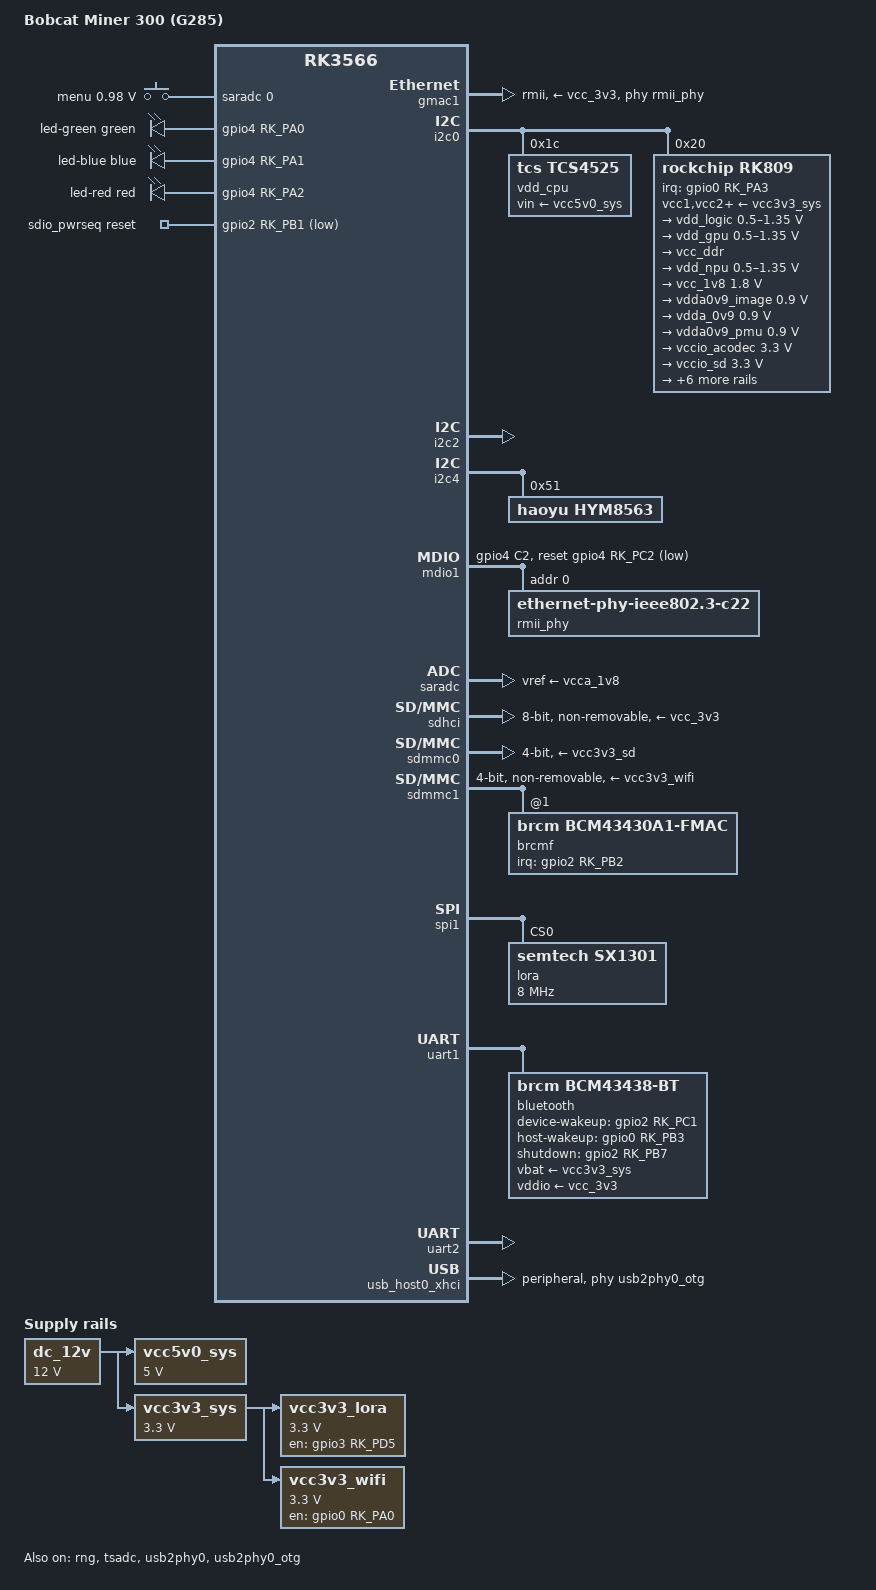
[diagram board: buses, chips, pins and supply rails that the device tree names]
// SPDX-License-Identifier: (GPL-2.0-or-later OR MIT)
/*
 * Bobcat Miner 300, board revision G285-V1.0 (Rockchip RK3566, 2 GB LPDDR4X,
 * 64 GB eMMC, SX1302 LoRa concentrator card in a mini-PCIe style socket).
 *
 * Written for mainline Linux from scratch. Board facts come from public notes
 * (see docs/hardware-g285.md for each fact and its source); the power tree
 * follows the Rockchip RK3566 reference design shared with the Radxa ROCK 3C
 * (rk3566-rock-3c.dts). Nodes marked "UNVERIFIED" are educated guesses that
 * have to be checked on a board (docs/bringup-checklist.md).
 */

/dts-v1/;

#include <dt-bindings/gpio/gpio.h>
#include <dt-bindings/input/input.h>
#include <dt-bindings/leds/common.h>
#include <dt-bindings/pinctrl/rockchip.h>
#include "rk3566.dtsi"

/ {
	model = "Bobcat Miner 300 (G285)";
	compatible = "bobcat,miner300-g285", "rockchip,rk3566";

	aliases {
		ethernet0 = &gmac1;
		mmc0 = &sdhci;
		mmc1 = &sdmmc0;
		mmc2 = &sdmmc1;
		rtc0 = &hym8563;
	};

	chosen: chosen {
		stdout-path = "serial2:1500000n8";
	};

	/*
	 * The button on SARADC channel 0, as in the factory DTB (a "menu" key
	 * there, pressed at about 0.98 V). Presumably the RECOVERY button, which
	 * Rockchip boards wire to this channel; not checked yet.
	 */
	adc-keys {
		compatible = "adc-keys";
		io-channels = <&saradc 0>;
		io-channel-names = "buttons";
		keyup-threshold-microvolt = <1800000>;
		poll-interval = <100>;

		button-menu {
			label = "menu";
			linux,code = <KEY_MENU>;
			press-threshold-microvolt = <980000>;
		};
	};

	leds {
		compatible = "gpio-leds";
		pinctrl-names = "default";
		pinctrl-0 = <&rgb_led_pins>;

		/*
		 * The front RGB LED, the board's only LED (checked by eye on a
		 * G285 on 2026-11-18, each line driven on its own; all active
		 * high). The factory firmware leaves it red. Under Linux: green
		 * heartbeat, so a running system shows; red and blue are free for
		 * user space (docs/roadmap.md, item 7).
		 */
		led-green {
			gpios = <&gpio4 RK_PA0 GPIO_ACTIVE_HIGH>;
			color = <LED_COLOR_ID_GREEN>;
			function = LED_FUNCTION_STATUS;
			linux,default-trigger = "heartbeat";
		};

		led-blue {
			gpios = <&gpio4 RK_PA1 GPIO_ACTIVE_HIGH>;
			color = <LED_COLOR_ID_BLUE>;
			function = LED_FUNCTION_STATUS;
			default-state = "off";
		};

		led-red {
			gpios = <&gpio4 RK_PA2 GPIO_ACTIVE_HIGH>;
			color = <LED_COLOR_ID_RED>;
			function = LED_FUNCTION_STATUS;
			default-state = "off";
		};
	};

	sdio_pwrseq: sdio-pwrseq {
		compatible = "mmc-pwrseq-simple";
		clocks = <&rk809 1>;
		clock-names = "ext_clock";
		pinctrl-names = "default";
		pinctrl-0 = <&wifi_reg_on_h>;
		post-power-on-delay-ms = <200>;
		reset-gpios = <&gpio2 RK_PB1 GPIO_ACTIVE_LOW>;
	};

	/* The board is fed with 12 V DC */
	dc_12v: regulator-dc-12v {
		compatible = "regulator-fixed";
		regulator-name = "dc_12v";
		regulator-always-on;
		regulator-boot-on;
		regulator-min-microvolt = <12000000>;
		regulator-max-microvolt = <12000000>;
	};

	vcc5v0_sys: regulator-vcc5v0-sys {
		compatible = "regulator-fixed";
		regulator-name = "vcc5v0_sys";
		regulator-always-on;
		regulator-boot-on;
		regulator-min-microvolt = <5000000>;
		regulator-max-microvolt = <5000000>;
		vin-supply = <&dc_12v>;
	};

	vcc3v3_sys: regulator-vcc3v3-sys {
		compatible = "regulator-fixed";
		regulator-name = "vcc3v3_sys";
		regulator-always-on;
		regulator-boot-on;
		regulator-min-microvolt = <3300000>;
		regulator-max-microvolt = <3300000>;
		vin-supply = <&dc_12v>;
	};

	/*
	 * Concentrator socket rail, GPIO3_D5 (legacy sysfs 125). The factory
	 * firmware drives it high once at boot and never again ("rf pwr en").
	 * The second socket line, GPIO3_D2 (sysfs 122), is the one the factory
	 * reset script cycles; it is left to the concentrator daemon, together
	 * with the SX1302 reset on GPIO4_C5 (sysfs 149).
	 */
	vcc3v3_lora: regulator-vcc3v3-lora {
		compatible = "regulator-fixed";
		regulator-name = "vcc3v3_lora";
		enable-active-high;
		gpios = <&gpio3 RK_PD5 GPIO_ACTIVE_HIGH>;
		pinctrl-names = "default";
		pinctrl-0 = <&lora_pwr_en>;
		regulator-always-on;
		regulator-boot-on;
		regulator-min-microvolt = <3300000>;
		regulator-max-microvolt = <3300000>;
		vin-supply = <&vcc3v3_sys>;
	};

	/* Wi-Fi module power, GPIO0_A0 active high (factory DTB: "wifi_pwren") */
	vcc3v3_wifi: regulator-vcc3v3-wifi {
		compatible = "regulator-fixed";
		regulator-name = "vcc3v3_wifi";
		enable-active-high;
		gpios = <&gpio0 RK_PA0 GPIO_ACTIVE_HIGH>;
		pinctrl-names = "default";
		pinctrl-0 = <&wifi_pwren_h>;
		regulator-always-on;
		regulator-boot-on;
		regulator-min-microvolt = <3300000>;
		regulator-max-microvolt = <3300000>;
		vin-supply = <&vcc3v3_sys>;
	};
};

&cpu0 {
	cpu-supply = <&vdd_cpu>;
};

&cpu1 {
	cpu-supply = <&vdd_cpu>;
};

&cpu2 {
	cpu-supply = <&vdd_cpu>;
};

&cpu3 {
	cpu-supply = <&vdd_cpu>;
};

/* No display on this board */
&display_subsystem {
	status = "disabled";
};

/*
 * RMII to a Motorcomm YT8512B, the SoC drives the 50 MHz reference clock
 * (no crystal on the PHY). Pin group m0 is UNVERIFIED for the G285: it is
 * what the other RK3566 Bobcat revision uses, with the same PHY reset pin.
 */
&gmac1 {
	assigned-clocks = <&cru SCLK_GMAC1_RX_TX>, <&cru SCLK_GMAC1>;
	assigned-clock-parents = <&cru SCLK_GMAC1_RMII_SPEED>;
	assigned-clock-rates = <0>, <50000000>;
	clock_in_out = "output";
	phy-handle = <&rmii_phy>;
	phy-mode = "rmii";
	phy-supply = <&vcc_3v3>;
	pinctrl-names = "default";
	pinctrl-0 = <&gmac1m0_miim
		     &gmac1m0_tx_bus2
		     &gmac1m0_rx_bus2
		     &gmac1m0_clkinout>;
	status = "okay";
};

&i2c0 {
	status = "okay";

	vdd_cpu: regulator@1c {
		compatible = "tcs,tcs4525";
		reg = <0x1c>;
		fcs,suspend-voltage-selector = <1>;
		regulator-name = "vdd_cpu";
		regulator-always-on;
		regulator-boot-on;
		regulator-min-microvolt = <800000>;
		regulator-max-microvolt = <1150000>;
		regulator-ramp-delay = <2300>;
		vin-supply = <&vcc5v0_sys>;

		regulator-state-mem {
			regulator-off-in-suspend;
		};
	};

	rk809: pmic@20 {
		compatible = "rockchip,rk809";
		reg = <0x20>;
		interrupt-parent = <&gpio0>;
		interrupts = <RK_PA3 IRQ_TYPE_LEVEL_LOW>;
		clock-output-names = "rk808-clkout1", "rk808-clkout2";
		pinctrl-names = "default";
		pinctrl-0 = <&pmic_int_l>;
		system-power-controller;
		vcc1-supply = <&vcc3v3_sys>;
		vcc2-supply = <&vcc3v3_sys>;
		vcc3-supply = <&vcc3v3_sys>;
		vcc4-supply = <&vcc3v3_sys>;
		vcc5-supply = <&vcc3v3_sys>;
		vcc6-supply = <&vcc3v3_sys>;
		vcc7-supply = <&vcc3v3_sys>;
		vcc8-supply = <&vcc3v3_sys>;
		vcc9-supply = <&vcc3v3_sys>;
		wakeup-source;
		#clock-cells = <1>;

		regulators {
			vdd_logic: DCDC_REG1 {
				regulator-name = "vdd_logic";
				regulator-always-on;
				regulator-boot-on;
				regulator-initial-mode = <0x2>;
				regulator-min-microvolt = <500000>;
				regulator-max-microvolt = <1350000>;
				regulator-ramp-delay = <6001>;

				regulator-state-mem {
					regulator-off-in-suspend;
				};
			};

			vdd_gpu: DCDC_REG2 {
				regulator-name = "vdd_gpu";
				regulator-always-on;
				regulator-boot-on;
				regulator-initial-mode = <0x2>;
				regulator-min-microvolt = <500000>;
				regulator-max-microvolt = <1350000>;
				regulator-ramp-delay = <6001>;

				regulator-state-mem {
					regulator-off-in-suspend;
				};
			};

			vcc_ddr: DCDC_REG3 {
				regulator-name = "vcc_ddr";
				regulator-always-on;
				regulator-boot-on;
				regulator-initial-mode = <0x2>;

				regulator-state-mem {
					regulator-on-in-suspend;
				};
			};

			vdd_npu: DCDC_REG4 {
				regulator-name = "vdd_npu";
				regulator-initial-mode = <0x2>;
				regulator-min-microvolt = <500000>;
				regulator-max-microvolt = <1350000>;
				regulator-ramp-delay = <6001>;

				regulator-state-mem {
					regulator-off-in-suspend;
				};
			};

			vcc_1v8: DCDC_REG5 {
				regulator-name = "vcc_1v8";
				regulator-always-on;
				regulator-boot-on;
				regulator-min-microvolt = <1800000>;
				regulator-max-microvolt = <1800000>;

				regulator-state-mem {
					regulator-off-in-suspend;
				};
			};

			vdda0v9_image: LDO_REG1 {
				regulator-name = "vdda0v9_image";
				regulator-min-microvolt = <900000>;
				regulator-max-microvolt = <900000>;

				regulator-state-mem {
					regulator-off-in-suspend;
				};
			};

			vdda_0v9: LDO_REG2 {
				regulator-name = "vdda_0v9";
				regulator-always-on;
				regulator-boot-on;
				regulator-min-microvolt = <900000>;
				regulator-max-microvolt = <900000>;

				regulator-state-mem {
					regulator-off-in-suspend;
				};
			};

			vdda0v9_pmu: LDO_REG3 {
				regulator-name = "vdda0v9_pmu";
				regulator-always-on;
				regulator-boot-on;
				regulator-min-microvolt = <900000>;
				regulator-max-microvolt = <900000>;

				regulator-state-mem {
					regulator-on-in-suspend;
					regulator-suspend-microvolt = <900000>;
				};
			};

			vccio_acodec: LDO_REG4 {
				regulator-name = "vccio_acodec";
				regulator-always-on;
				regulator-boot-on;
				regulator-min-microvolt = <3300000>;
				regulator-max-microvolt = <3300000>;

				regulator-state-mem {
					regulator-off-in-suspend;
				};
			};

			/*
			 * Kept at 3.3 V: the SD slot runs in high-speed mode only
			 * (no UHS), as the factory firmware does.
			 */
			vccio_sd: LDO_REG5 {
				regulator-name = "vccio_sd";
				regulator-always-on;
				regulator-boot-on;
				regulator-min-microvolt = <3300000>;
				regulator-max-microvolt = <3300000>;

				regulator-state-mem {
					regulator-off-in-suspend;
				};
			};

			vcc3v3_pmu: LDO_REG6 {
				regulator-name = "vcc3v3_pmu";
				regulator-always-on;
				regulator-boot-on;
				regulator-min-microvolt = <3300000>;
				regulator-max-microvolt = <3300000>;

				regulator-state-mem {
					regulator-on-in-suspend;
					regulator-suspend-microvolt = <3300000>;
				};
			};

			vcca_1v8: LDO_REG7 {
				regulator-name = "vcca_1v8";
				regulator-always-on;
				regulator-boot-on;
				regulator-min-microvolt = <1800000>;
				regulator-max-microvolt = <1800000>;

				regulator-state-mem {
					regulator-off-in-suspend;
				};
			};

			vcca1v8_pmu: LDO_REG8 {
				regulator-name = "vcca1v8_pmu";
				regulator-always-on;
				regulator-boot-on;
				regulator-min-microvolt = <1800000>;
				regulator-max-microvolt = <1800000>;

				regulator-state-mem {
					regulator-on-in-suspend;
					regulator-suspend-microvolt = <1800000>;
				};
			};

			vcca1v8_image: LDO_REG9 {
				regulator-name = "vcca1v8_image";
				regulator-min-microvolt = <1800000>;
				regulator-max-microvolt = <1800000>;

				regulator-state-mem {
					regulator-off-in-suspend;
				};
			};

			vcc_3v3: SWITCH_REG1 {
				regulator-name = "vcc_3v3";
				regulator-always-on;
				regulator-boot-on;

				regulator-state-mem {
					regulator-off-in-suspend;
				};
			};

			vcc3v3_sd: SWITCH_REG2 {
				regulator-name = "vcc3v3_sd";
				regulator-always-on;
				regulator-boot-on;

				regulator-state-mem {
					regulator-off-in-suspend;
				};
			};
		};
	};
};

/* Enabled in the factory DTB; nothing known is attached yet. */
&i2c2 {
	pinctrl-names = "default";
	pinctrl-0 = <&i2c2m1_xfer>;
	status = "okay";
};

/*
 * The factory DTB declares the RTC (CR1220 backed) on both i2c2 and i2c4;
 * i2c4 is the more likely one (UNVERIFIED, check with i2cdetect).
 */
&i2c4 {
	pinctrl-names = "default";
	pinctrl-0 = <&i2c4m0_xfer>;
	status = "okay";

	hym8563: rtc@51 {
		compatible = "haoyu,hym8563";
		reg = <0x51>;
		#clock-cells = <0>;
		clock-output-names = "rtcic_32kout";
	};
};

/*
 * The PHY reset is on the MDIO bus, not in the PHY node: with a per-PHY reset
 * the kernel reads the PHY ID before releasing the reset, finds nothing at
 * address 0 and gives up (seen on the board, 2026-11-17). A bus reset is
 * released before the bus is scanned.
 */
&mdio1 {
	pinctrl-names = "default";
	pinctrl-0 = <&eth_phy_rst>;
	reset-gpios = <&gpio4 RK_PC2 GPIO_ACTIVE_LOW>;
	reset-delay-us = <20000>;
	reset-post-delay-us = <100000>;

	/* Motorcomm YT8512B, PHY ID 0x00000128 (read on the board) */
	rmii_phy: ethernet-phy@0 {
		compatible = "ethernet-phy-ieee802.3-c22";
		reg = <0x0>;
	};
};

&pinctrl {
	bluetooth {
		bt_reg_on_h: bt-reg-on-h {
			rockchip,pins = <2 RK_PB7 RK_FUNC_GPIO &pcfg_pull_none>;
		};

		bt_host_wake_h: bt-host-wake-h {
			rockchip,pins = <0 RK_PB3 RK_FUNC_GPIO &pcfg_pull_down>;
		};

		bt_wake_h: bt-wake-h {
			rockchip,pins = <2 RK_PC1 RK_FUNC_GPIO &pcfg_pull_none>;
		};
	};

	ethernet {
		eth_phy_rst: eth-phy-rst {
			rockchip,pins = <4 RK_PC2 RK_FUNC_GPIO &pcfg_pull_none>;
		};
	};

	leds {
		rgb_led_pins: rgb-led-pins {
			rockchip,pins = <4 RK_PA0 RK_FUNC_GPIO &pcfg_pull_none>,
					<4 RK_PA1 RK_FUNC_GPIO &pcfg_pull_none>,
					<4 RK_PA2 RK_FUNC_GPIO &pcfg_pull_none>;
		};
	};

	lora {
		lora_pwr_en: lora-pwr-en {
			rockchip,pins = <3 RK_PD5 RK_FUNC_GPIO &pcfg_pull_none>;
		};
	};

	pmic {
		pmic_int_l: pmic-int-l {
			rockchip,pins = <0 RK_PA3 RK_FUNC_GPIO &pcfg_pull_up>;
		};
	};

	wifi {
		wifi_reg_on_h: wifi-reg-on-h {
			rockchip,pins = <2 RK_PB1 RK_FUNC_GPIO &pcfg_pull_none>;
		};

		wifi_host_wake_h: wifi-host-wake-h {
			rockchip,pins = <2 RK_PB2 RK_FUNC_GPIO &pcfg_pull_down>;
		};

		wifi_pwren_h: wifi-pwren-h {
			rockchip,pins = <0 RK_PA0 RK_FUNC_GPIO &pcfg_pull_none>;
		};
	};
};

/*
 * As in the G285's factory DTB: pmuio2 = vcca_1v8, vccio1 = vccio_acodec
 * (3.3 V), vccio3 = vccio_sd, vccio4..7 = vcc_3v3. vccio4 differs from the
 * Rockchip EVB: it carries the Wi-Fi SDIO and UART1 at 3.3 V, and declaring it
 * 1.8 V would set 1.8 V pad mode on a 3.3 V rail. pmuio1 and vccio2 are not
 * set there (fixed in hardware).
 */
&pmu_io_domains {
	pmuio1-supply = <&vcc3v3_pmu>;
	pmuio2-supply = <&vcca_1v8>;
	vccio1-supply = <&vcc_3v3>;
	vccio2-supply = <&vcc_1v8>;
	vccio3-supply = <&vccio_sd>;
	vccio4-supply = <&vcc_3v3>;
	vccio5-supply = <&vcc_3v3>;
	vccio6-supply = <&vcc_3v3>;
	vccio7-supply = <&vcc_3v3>;
	status = "okay";
};

/* Hardware TRNG, entropy for the first boot's keys */
&rng {
	status = "okay";
};

&saradc {
	vref-supply = <&vcca_1v8>;
	status = "okay";
};

/* eMMC with the factory firmware: HS200, 8 bit */
&sdhci {
	bus-width = <8>;
	max-frequency = <200000000>;
	mmc-hs200-1_8v;
	non-removable;
	pinctrl-names = "default";
	pinctrl-0 = <&emmc_bus8 &emmc_clk &emmc_cmd &emmc_datastrobe>;
	vmmc-supply = <&vcc_3v3>;
	vqmmc-supply = <&vcc_1v8>;
	status = "okay";
};

/*
 * microSD, the boot medium. The card-detect line of the G285 is not known,
 * so the slot is polled.
 */
&sdmmc0 {
	broken-cd;
	bus-width = <4>;
	cap-mmc-highspeed;
	cap-sd-highspeed;
	disable-wp;
	pinctrl-names = "default";
	pinctrl-0 = <&sdmmc0_bus4 &sdmmc0_clk &sdmmc0_cmd>;
	vmmc-supply = <&vcc3v3_sd>;
	vqmmc-supply = <&vccio_sd>;
	status = "okay";
};

/* Wi-Fi: Broadcom BCM43430 (AzureWave NM372) on SDIO */
&sdmmc1 {
	#address-cells = <1>;
	#size-cells = <0>;
	bus-width = <4>;
	cap-sd-highspeed;
	cap-sdio-irq;
	keep-power-in-suspend;
	mmc-pwrseq = <&sdio_pwrseq>;
	non-removable;
	pinctrl-names = "default";
	pinctrl-0 = <&sdmmc1_bus4 &sdmmc1_clk &sdmmc1_cmd>;
	vmmc-supply = <&vcc3v3_wifi>;
	vqmmc-supply = <&vcc_3v3>;
	status = "okay";

	brcmf: wifi@1 {
		compatible = "brcm,bcm43430a1-fmac", "brcm,bcm4329-fmac";
		reg = <1>;
		interrupt-parent = <&gpio2>;
		interrupts = <RK_PB2 IRQ_TYPE_LEVEL_HIGH>;
		interrupt-names = "host-wake";
		pinctrl-names = "default";
		pinctrl-0 = <&wifi_host_wake_h>;
	};
};

/* Concentrator card: SX1302 on SPI1, pin group m1 (pinmux-pins on a G285) */
&spi1 {
	pinctrl-names = "default";
	pinctrl-0 = <&spi1m1_pins &spi1m1_cs0>;
	status = "okay";

	lora: spi@0 {
		compatible = "semtech,sx1301";
		reg = <0>;
		spi-max-frequency = <8000000>;
	};
};

&tsadc {
	rockchip,hw-tshut-mode = <1>;
	rockchip,hw-tshut-polarity = <0>;
	status = "okay";
};

/* Bluetooth half of the BCM43430 */
&uart1 {
	pinctrl-names = "default";
	pinctrl-0 = <&uart1m0_xfer &uart1m0_ctsn &uart1m0_rtsn>;
	uart-has-rtscts;
	status = "okay";

	bluetooth {
		compatible = "brcm,bcm43438-bt";
		clocks = <&rk809 1>;
		clock-names = "lpo";
		device-wakeup-gpios = <&gpio2 RK_PC1 GPIO_ACTIVE_HIGH>;
		host-wakeup-gpios = <&gpio0 RK_PB3 GPIO_ACTIVE_HIGH>;
		shutdown-gpios = <&gpio2 RK_PB7 GPIO_ACTIVE_HIGH>;
		pinctrl-names = "default";
		pinctrl-0 = <&bt_host_wake_h &bt_reg_on_h &bt_wake_h>;
		vbat-supply = <&vcc3v3_sys>;
		vddio-supply = <&vcc_3v3>;
	};
};

/* Debug console, 1500000 8N1, 3.3 V */
&uart2 {
	status = "okay";
};

/*
 * Rear micro-USB (OTG, also the Maskrom port), USB 2.0 only: the combo PHY's
 * USB 3 lane is not wired. Gadget mode does not work yet: the controller
 * reports "failed to enable ep0out" when a gadget is bound.
 */
&usb_host0_xhci {
	dr_mode = "peripheral";
	maximum-speed = "high-speed";
	phys = <&usb2phy0_otg>;
	phy-names = "usb2-phy";
	status = "okay";
};

&usb2phy0 {
	status = "okay";
};

&usb2phy0_otg {
	status = "okay";
};
